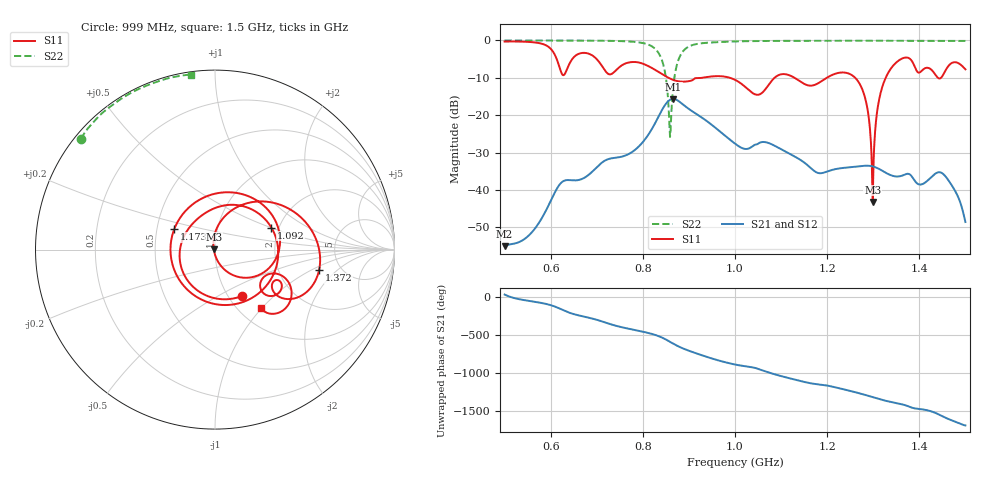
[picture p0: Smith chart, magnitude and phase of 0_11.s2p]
! TOUCHSTONE file generated by CST MICROWAVE STUDIO
! Date and time: Sat Oct 24 10:42:49 2020
! Project name: Scenario_1_Planar_Body_Tissue_Center.cst
! Parameters = {hfat=3; hmuscle=50; hskin=1.5; hgap=25; Wtissue=700; Ltissue=700; L_HA=400; MT=2.54; Rad_Dielectric=30; Rad_Lower=7.3; Rad_Upper=30; a_HA=580; a_WG=246; b_HA=500; b_WG=121; c_HA=0; c_WG=187; d_feed=85; dx1=346.2; h_feed=15; h_lower=18; h_upper=40}
! Header version: 2018
! Port assignment regex: !\s*Touchstone port\s*([0-9]+)\s*=\s*(CST MWS port|CST DS port)\s*([0-9]+|Zmin|Zmax)\s*\(\"(.*)\"\)(\s*mode\s*([0-9]+))?.*
! Touchstone port assignment:
! Touchstone port 1 = CST MWS port 1 ("")
! Touchstone port 2 = CST MWS port 2 ("")
# GHz S DB R 50
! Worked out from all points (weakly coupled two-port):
!   1003 points, 500 MHz to 1.5 GHz, reference 50 ohm
!   highest |S21| = -15.62 dB at 866 MHz (marker M1); lowest = -55.0 dB at 500 MHz (marker M2)
!   lowest |S11| = -43.2 dB at 1.299 GHz (marker M3), VSWR 1.01, Z = 49.3 + j0.147 ohm
!   |S11| at or under -10 dB: 855.7 MHz to 928.1 MHz (72.37 MHz wide, 8.11 % of centre); 989 MHz to 1.086 GHz (96.75 MHz wide, 9.33 % of centre); 1.129 GHz to 1.199 GHz (70 MHz wide, 6.01 % of centre)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
!   |S22| runs from -25.8 to 0.0 dB; largest |S21 - S12| = 0.00076
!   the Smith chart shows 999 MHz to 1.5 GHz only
!   S11 on the Smith chart (normalised r, x): 999 MHz: 1.15, -0.66; 1.092 GHz: 1.83, +0.50; 1.173 GHz: 0.62, +0.15; 1.372 GHz: 3.45, -1.19; 1.5 GHz: 1.26, -0.98
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0.5  -0.30 -121.7  -55.03 35.8  -55.03 35.8  -0.01 151.1
0.667  -3.37 156.6  -37.10 112.0  -37.10 112.0  -0.04 138.4
0.716  -7.72 25.9  -32.27 32.4  -32.27 32.4  -0.09 132.8
0.74  -8.20 -95.4  -31.39 -13.2  -31.39 -13.2  -0.14 129.3
0.769  -5.91 175.8  -30.40 -54.6  -30.40 -54.6  -0.27 123.4
0.834  -8.42 26.6  -20.39 -151.8  -20.39 -151.8  -3.34 85.5
0.858  -10.14 -41.9  -15.95 136.1  -15.95 136.1  -23.59 -2.0
0.866  -10.56 -67.0  -15.62 108.4  -15.62 108.4  -12.30 -136.5
0.935  -9.87 86.8  -21.23 -58.4  -21.23 -58.4  -0.67 152.3
0.999  -10.48 -59.9  -27.51 -165.1  -27.51 -165.1  -0.28 140.4
1  -10.54 -62.3  -27.60 -166.4  -27.60 -166.3  -0.28 140.3
1.04  -14.22 178.9  -28.15 153.4  -28.14 153.5  -0.18 135.4
1.092  -9.44 21.2  -28.56 54.6  -28.56 54.6  -0.12 130.4
1.129  -9.99 -76.9  -31.02 -4.1  -31.02 -4.1  -0.11 127.2
1.167  -12.08 171.0  -34.41 -56.8  -34.42 -56.8  -0.10 124.2
1.173  -11.89 152.8  -35.01 -62.1  -35.01 -62.1  -0.10 123.8
1.264  -10.43 -24.7  -33.74 -176.2  -33.74 -176.2  -0.08 116.8
1.299  -43.21 167.5  -33.70 122.9  -33.70 122.9  -0.08 114.1
1.334  -8.34 44.5  -35.83 65.8  -35.83 65.8  -0.09 111.5
1.372  -4.57 -10.9  -35.73 12.4  -35.73 12.3  -0.09 108.6
1.451  -9.34 -23.0  -35.64 -130.8  -35.64 -130.8  -0.11 102.2
1.5  -7.73 -51.9  -48.56 110.5  -48.56 110.5  -0.13 97.9
